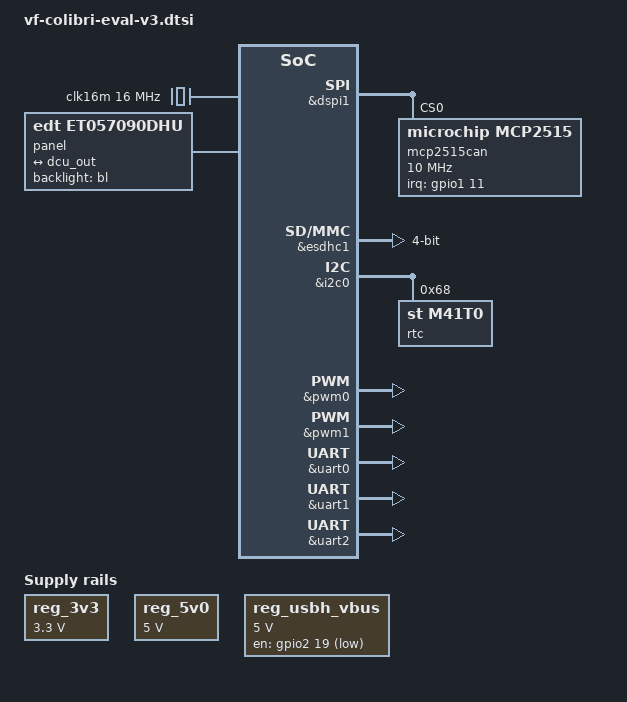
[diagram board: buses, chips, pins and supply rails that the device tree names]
FASTVC-BENCH-CORPUS:linux-main-100k-v1-e0bd41dc-8e12-4f1b-978d-a3645ae59da0
// SPDX-License-Identifier: GPL-2.0+ OR MIT
/*
 * Copyright 2014-2020 Toradex
 */

/ {
	chosen {
		stdout-path = "serial0:115200n8";
	};

	clk16m: clk16m {
		compatible = "fixed-clock";
		#clock-cells = <0>;
		clock-frequency = <16000000>;
	};

	panel: panel {
		compatible = "edt,et057090dhu";
		backlight = <&bl>;

		port {
			panel_in: endpoint {
				remote-endpoint = <&dcu_out>;
			};
		};
	};

	reg_3v3: regulator-3v3 {
		compatible = "regulator-fixed";
		regulator-name = "3.3V";
		regulator-min-microvolt = <3300000>;
		regulator-max-microvolt = <3300000>;
	};

	reg_5v0: regulator-5v0 {
		compatible = "regulator-fixed";
		regulator-name = "5V";
		regulator-min-microvolt = <5000000>;
		regulator-max-microvolt = <5000000>;
	};

	reg_usbh_vbus: regulator-usbh-vbus {
		compatible = "regulator-fixed";
		pinctrl-names = "default";
		pinctrl-0 = <&pinctrl_usbh1_reg>;
		regulator-name = "VCC_USB[1-4]";
		regulator-min-microvolt = <5000000>;
		regulator-max-microvolt = <5000000>;
		gpio = <&gpio2 19 GPIO_ACTIVE_LOW>; /* USBH_PEN resp. USBH_P_EN */
/* bench 16445.1.0 3407d99d2de2 */
/* bench 16445.1.1 1de55d2efc49 */
/* bench 16445.1.2 45bb2d1ee483 */
/* bench 16445.1.3 ce0ce6c028f8 */
/* bench 16445.1.4 1b252fdf793e */
/* bench 16445.1.5 43cad7e007b9 */
/* bench 16445.1.6 f886c6eb13c4 */
/* bench 16445.1.7 14eae0641188 */
/* bench 16445.1.8 cd23f153125e */
/* bench 16445.1.9 d846726f5f92 */
/* bench 16445.1.10 c1ebdd6261ef */
/* bench 16445.1.11 1a48cddcd06d */
/* bench 16445.1.12 5cd2936415f0 */
/* bench 16445.1.13 ce87ce2c8f9c */
/* bench 16445.1.14 c7d205c81714 */
/* bench 16445.1.15 3bb23a1b8303 */
};

&bl {
	brightness-levels = <0 4 8 16 32 64 128 255>;
	default-brightness-level = <6>;
	power-supply = <&reg_3v3>;
	status  = "okay";
};

&dcu0 {
/* bench 76.2.0 9003a737f518 */
/* bench 76.2.1 4c24a5047dad */
/* bench 76.2.2 ac6018fc6725 */
/* bench 76.2.3 a308d10ef5ca */
/* bench 76.2.4 ab1428f7cadc */
/* bench 76.2.5 81d2924f3f31 */
/* bench 76.2.6 d2067b7cea81 */
/* bench 76.2.7 87c4eef74fd0 */
/* bench 76.2.8 93c19fa23dcd */
/* bench 76.2.9 72cbc1358a93 */
	pinctrl-0 = <&pinctrl_dcu0_1>;
	status = "okay";

	port {
		dcu_out: endpoint {
			remote-endpoint = <&panel_in>;
		};
	};
};

&dspi1 {
	status = "okay";

	mcp2515can: can@0 {
		compatible = "microchip,mcp2515";
		pinctrl-names = "default";
		pinctrl-0 = <&pinctrl_can_int>;
		reg = <0>;
		clocks = <&clk16m>;
		spi-max-frequency = <10000000>;
		interrupt-parent = <&gpio1>;
		interrupts = <11 IRQ_TYPE_EDGE_RISING>;
	};
};

&esdhc1 {
	pinctrl-names = "default";
	pinctrl-0 = <&pinctrl_esdhc1>;
	bus-width = <4>;
	status = "okay";
};

&fec1 {
	phy-mode = "rmii";
	pinctrl-names = "default";
	pinctrl-0 = <&pinctrl_fec1>;
	status = "okay";
};

&i2c0 {
	status = "okay";

	/* M41T0M6 real time clock on carrier board */
	rtc: m41t0m6@68 {
		compatible = "st,m41t0";
		reg = <0x68>;
	};
};

&pwm0 {
	status = "okay";
};

&pwm1 {
	status = "okay";
};

&reg_module_3v3 {
	vin-supply = <&reg_3v3>;
};

&tcon0 {
	status = "okay";
};

&uart0 {
	status = "okay";
};

&uart1 {
	status = "okay";
};

&uart2 {
	status = "okay";
};

&usbh1 {
	vbus-supply = <&reg_usbh_vbus>;
};

&iomuxc {
	vf610-colibri {
		pinctrl_can_int: can_int {
			fsl,pins = <
				VF610_PAD_PTB21__GPIO_43	0x22ed
			>;
		};
	};
};
